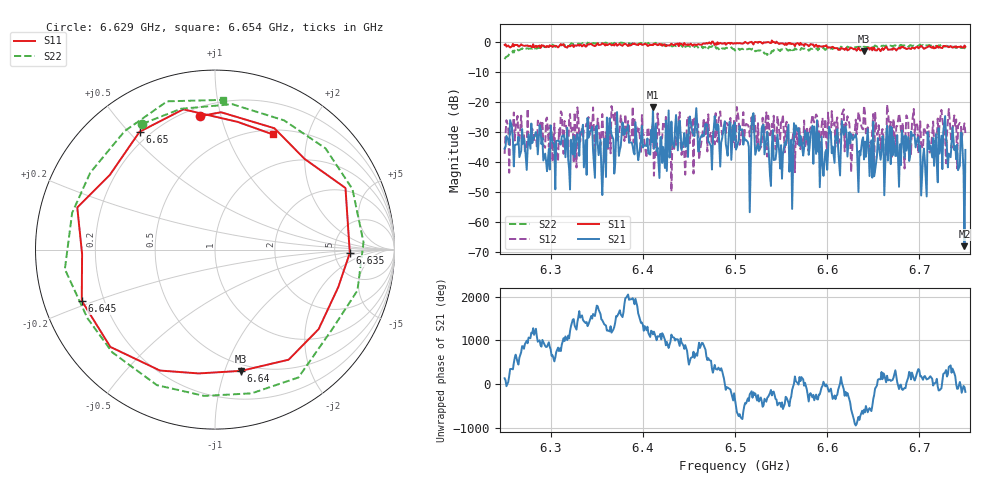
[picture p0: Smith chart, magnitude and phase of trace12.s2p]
# Hz S RI R 50
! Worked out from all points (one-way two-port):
!   401 points, 6.25 GHz to 6.75 GHz, reference 50 ohm
!   highest |S21| = -21.82 dB at 6.411 GHz (marker M1); lowest = -67.9 dB at 6.749 GHz (marker M2)
!   lowest |S11| = -3.2 dB at 6.64 GHz (marker M3), VSWR 5.48, Z = 22 - j57 ohm
!   |S11| at or under -10 dB: nowhere
!   |S22| runs from -5.8 to -0.3 dB; largest |S21 - S12| = 0.11
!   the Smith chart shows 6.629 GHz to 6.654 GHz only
!   S11 on the Smith chart (normalised r, x): 6.629 GHz: 0.25, +0.86; 6.635 GHz: 6.99, -0.61; 6.64 GHz: 0.44, -1.14; 6.645 GHz: 0.12, -0.18; 6.65 GHz: 0.16, +0.54; 6.654 GHz: 0.55, +1.47
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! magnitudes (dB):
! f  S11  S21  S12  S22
! 6.25 GHz  -1.1  -35.5  -37.2  -5.8
! 6.334 GHz  -1.5  -29.8  -28.5  -0.6
! 6.358 GHz  -0.8  -32.2  -35.9  -0.6
! 6.364 GHz  -0.7  -25.4  -26.8  -0.5
! 6.411 GHz  -1.1  -21.8  -26.2  -0.8
! 6.418 GHz  -0.7  -45.3  -31.1  -1.0
! 6.5 GHz  -0.5  -26.9  -35.1  -2.9
! 6.562 GHz  -0.7  -55.5  -33.4  -2.8
! 6.584 GHz  -1.0  -27.9  -24.2  -2.4
! 6.595 GHz  -1.7  -41.2  -25.2  -2.5
! 6.629 GHz  -2.5  -31.9  -30.1  -1.8
! 6.635 GHz  -2.5  -36.3  -25.0  -1.5
! 6.64 GHz  -3.2  -39.1  -21.2  -1.4
! 6.645 GHz  -2.0  -35.6  -37.3  -1.8
! 6.65 GHz  -2.2  -26.6  -24.0  -1.8
! 6.654 GHz  -2.9  -38.1  -30.9  -1.6
! 6.668 GHz  -2.6  -28.1  -30.0  -1.2
! 6.696 GHz  -1.9  -35.1  -26.8  -1.5
! 6.705 GHz  -2.3  -35.5  -28.4  -1.5
! 6.726 GHz  -1.4  -29.8  -27.9  -1.6
! 6.749 GHz  -1.2  -67.9  -27.1  -2.0
! 6.75 GHz  -1.7  -35.9  -30.3  -2.3
